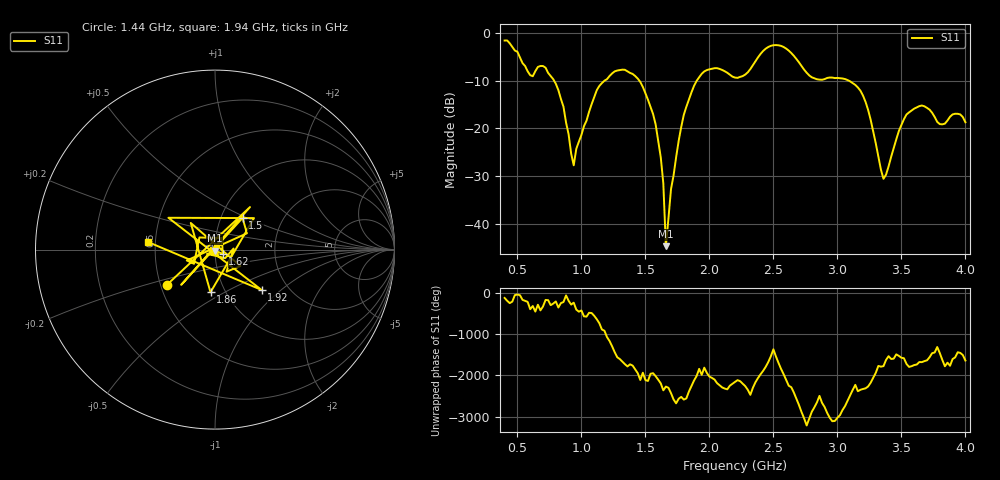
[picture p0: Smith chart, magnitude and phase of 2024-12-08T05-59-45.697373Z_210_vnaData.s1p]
!Created with skrf (http://scikit-rf.org).
# Hz S RI R 50.0
!freq ReS11 ImS11
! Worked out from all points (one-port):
!   181 points, 400 MHz to 4 GHz, reference 50 ohm
!   lowest |S11| = -44.7 dB at 1.66 GHz (marker M1), VSWR 1.01, Z = 49.8 - j0.551 ohm
!   |S11| at or under -10 dB: 786.6 MHz to 1.18 GHz (393.3 MHz wide, 40 % of centre); 1.453 GHz to 1.901 GHz (448.6 MHz wide, 26.7 % of centre); 3.089 GHz to end of sweep
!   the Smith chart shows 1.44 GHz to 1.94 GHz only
!   S11 on the Smith chart (normalised r, x): 1.44 GHz: 0.54, -0.24; 1.5 GHz: 1.26, +0.47; 1.62 GHz: 1.09, -0.06; 1.86 GHz: 0.85, -0.43; 1.92 GHz: 1.47, -0.75; 1.94 GHz: 0.46, +0.04
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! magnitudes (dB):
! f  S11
! 400 MHz  -1.6
! 600 MHz  -8.8
! 720 MHz  -7.3
! 860 MHz  -15.5
! 940 MHz  -27.7
! 1.12 GHz  -12.0
! 1.3 GHz  -7.8
! 1.44 GHz  -9.5
! 1.5 GHz  -12.6
! 1.58 GHz  -19.2
! 1.62 GHz  -26.1
! 1.64 GHz  -31.5
! 1.66 GHz  -44.7
! 1.7 GHz  -32.7
! 1.76 GHz  -22.6
! 1.86 GHz  -12.4
! 1.92 GHz  -9.3
! 1.94 GHz  -8.6
! 2.2 GHz  -9.3
! 2.48 GHz  -2.7
! 2.66 GHz  -4.8
! 2.8 GHz  -9.3
! 3.1 GHz  -10.1
! 3.22 GHz  -14.4
! 3.36 GHz  -30.6
! 3.56 GHz  -16.6
! 3.66 GHz  -15.2
! 4 GHz  -18.7
